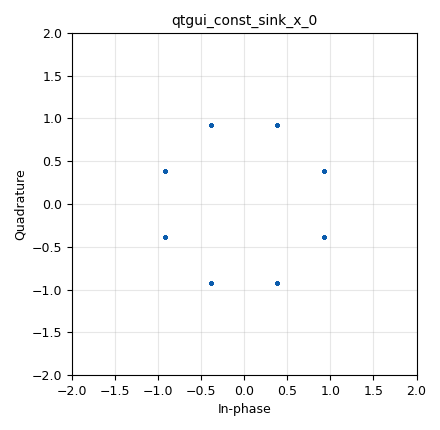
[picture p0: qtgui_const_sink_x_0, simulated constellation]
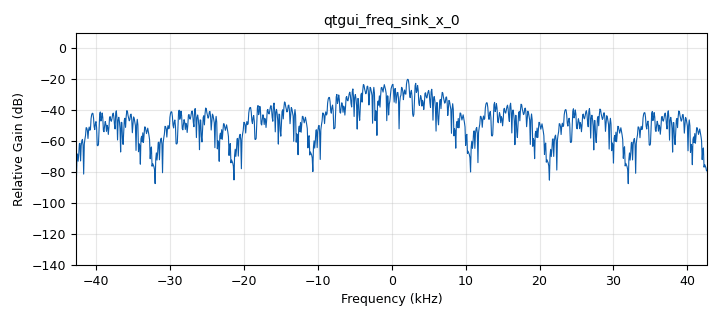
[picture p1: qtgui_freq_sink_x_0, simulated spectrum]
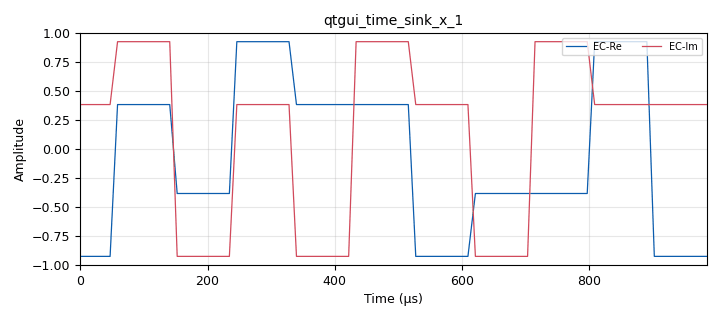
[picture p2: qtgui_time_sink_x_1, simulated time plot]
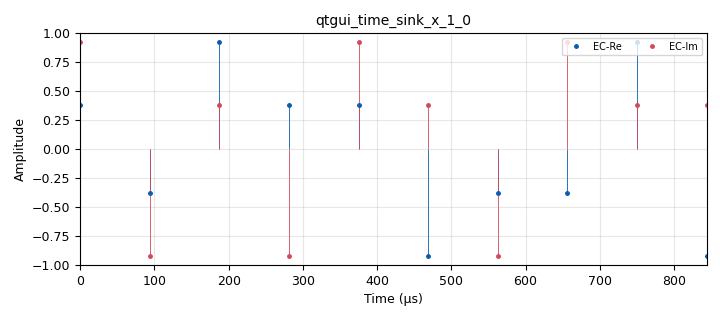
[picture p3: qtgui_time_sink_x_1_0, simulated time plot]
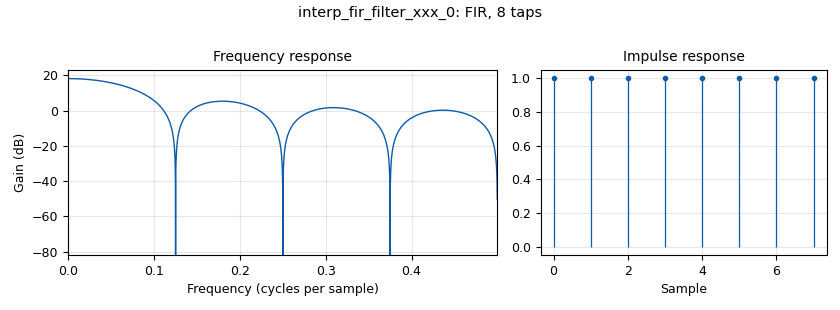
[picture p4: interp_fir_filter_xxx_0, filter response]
options:
  parameters:
    generate_options: qt_gui
    id: video_homero
    output_language: python
    title: Not titled yet
  states: {}

blocks:
- name: M
  id: variable
  parameters:
    value: '8'
  states: {}
- name: Nbps
  id: variable
  parameters:
    value: int(math.log(M,2))
  states: {}
- name: Rb
  id: variable
  parameters:
    value: '32000'
  states: {}
- name: Rs
  id: variable
  parameters:
    value: Rb/Nbps
  states: {}
- name: Samp_rate
  id: variable
  parameters:
    value: Rs*Sps
  states: {}
- name: Sps
  id: variable
  parameters:
    value: len(h)
  states: {}
- name: h
  id: variable
  parameters:
    value: (1.,1.,1.,1.,1.,1.,1.,1)
  states: {}
- name: analog_const_source_x_0
  id: analog_const_source_x
  parameters:
    const: '1.'
    type: float
  states: {}
- name: analog_random_source_x_0
  id: analog_random_source_x
  parameters:
    max: '2'
    min: '0'
    num_samps: '1000'
    repeat: 'True'
    type: byte
  states: {}
- name: blocks_add_const_vxx_0
  id: blocks_add_const_vxx
  parameters:
    const: math.pi/M
    type: float
  states: {}
- name: blocks_char_to_float_0
  id: blocks_char_to_float
  parameters:
    scale: '1'
  states: {state: disabled}
- name: blocks_char_to_float_0_0
  id: blocks_char_to_float
  parameters:
    scale: '1'
  states: {state: disabled}
- name: blocks_char_to_float_1
  id: blocks_char_to_float
  parameters:
    scale: '1'
  states: {}
- name: blocks_multiply_const_vxx_0
  id: blocks_multiply_const_vxx
  parameters:
    const: 2*math.pi/M
    type: float
  states: {}
- name: blocks_repack_bits_bb_0
  id: blocks_repack_bits_bb
  parameters:
    endianness: gr.GR_LSB_FIRST
    k: '1'
    l: Nbps
  states: {}
- name: epy_block_0
  id: epy_block
  parameters:
    _source_code: |
      """
      Embedded Python Blocks:

      Each time this file is saved, GRC will instantiate the first class it finds
      to get ports and parameters of your block. The arguments to __init__  will
      be the parameters. All of them are required to have default values!
      """

      import numpy as np
      from gnuradio import gr


      class blk(gr.sync_block):  # other base classes are basic_block, decim_block, interp_block
          """Embedded Python Block example - a simple multiply const"""

          def __init__(self, example_param=1.0):  # only default arguments here
              """arguments to this function show up as parameters in GRC"""
              gr.sync_block.__init__(
                  self,
                  name='VCO Complex',   # will show up in GRC
                  in_sig=[np.float32, np.float32],
                  out_sig=[np.complex64]
              )
              # if an attribute with the same name as a parameter is found,
              # a callback is registered (properties work, too).
              self.example_param = example_param

          def work(self, input_items, output_items):
              Q=input_items[0]
              A=input_items[1]
              Sec=output_items[0]
              Sec[:]=A*np.exp(1.j*Q)
              return len(Sec)
    example_param: '1.0'
  states: {}
- name: import_0
  id: import
  parameters:
    imports: import math
  states: {}
- name: interp_fir_filter_xxx_0
  id: interp_fir_filter_xxx
  parameters:
    interp: Sps
    taps: h
    type: ccc
  states: {}
- name: qtgui_const_sink_x_0
  id: qtgui_const_sink_x
  parameters:
    size: '1024'
    type: complex
  states: {}
- name: qtgui_freq_sink_x_0
  id: qtgui_freq_sink_x
  parameters:
    bw: Samp_rate
    fc: '0'
    fftsize: '1024'
    type: complex
  states: {}
- name: qtgui_time_sink_x_0
  id: qtgui_time_sink_x
  parameters:
    label1: Binary
    marker1: '0'
    size: '32'
    srate: Rb
    stemplot: 'True'
    type: float
    width1: '3'
  states: {state: disabled}
- name: qtgui_time_sink_x_0_0
  id: qtgui_time_sink_x
  parameters:
    label1: M-PAM
    marker1: '0'
    size: 32//Nbps
    srate: Rs
    stemplot: 'True'
    type: float
    width1: '3'
  states: {state: disabled}
- name: qtgui_time_sink_x_0_0_0
  id: qtgui_time_sink_x
  parameters:
    label1: M-PAM Mod
    marker1: '0'
    size: 32//Nbps
    srate: Rs
    stemplot: 'True'
    type: float
    width1: '3'
  states: {state: disabled}
- name: qtgui_time_sink_x_1
  id: qtgui_time_sink_x
  parameters:
    alpha1: '3.0'
    alpha2: '3.0'
    label1: EC-Re
    label2: EC-Im
    size: (32*Sps)//Nbps
    srate: Samp_rate
    type: complex
  states: {}
- name: qtgui_time_sink_x_1_0
  id: qtgui_time_sink_x
  parameters:
    alpha1: '3.0'
    alpha2: '3.0'
    label1: EC-Re
    label2: EC-Im
    marker1: '0'
    marker2: '0'
    size: 32//Nbps
    srate: Rs
    stemplot: 'True'
    type: complex
  states: {}

connections:
- [analog_const_source_x_0, '0', epy_block_0, '1']
- [analog_random_source_x_0, '0', blocks_char_to_float_0, '0']
- [analog_random_source_x_0, '0', blocks_repack_bits_bb_0, '0']
- [blocks_add_const_vxx_0, '0', epy_block_0, '0']
- [blocks_char_to_float_0, '0', qtgui_time_sink_x_0, '0']
- [blocks_char_to_float_0_0, '0', qtgui_time_sink_x_0_0, '0']
- [blocks_char_to_float_1, '0', blocks_multiply_const_vxx_0, '0']
- [blocks_multiply_const_vxx_0, '0', blocks_add_const_vxx_0, '0']
- [blocks_multiply_const_vxx_0, '0', qtgui_time_sink_x_0_0_0, '0']
- [blocks_repack_bits_bb_0, '0', blocks_char_to_float_0_0, '0']
- [blocks_repack_bits_bb_0, '0', blocks_char_to_float_1, '0']
- [epy_block_0, '0', interp_fir_filter_xxx_0, '0']
- [epy_block_0, '0', qtgui_const_sink_x_0, '0']
- [epy_block_0, '0', qtgui_time_sink_x_1_0, '0']
- [interp_fir_filter_xxx_0, '0', qtgui_freq_sink_x_0, '0']
- [interp_fir_filter_xxx_0, '0', qtgui_time_sink_x_1, '0']

metadata:
  file_format: 1
  grc_version: 3.10.5.1
